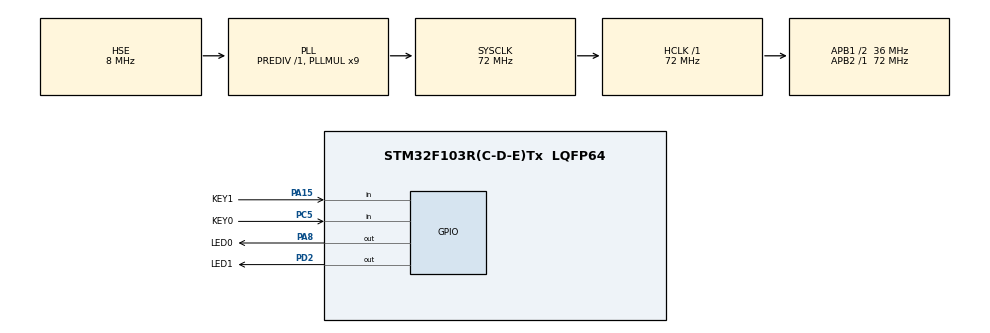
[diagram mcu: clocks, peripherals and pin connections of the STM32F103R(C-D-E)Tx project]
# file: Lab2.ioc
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Mcu.Family=STM32F1
Mcu.Name=STM32F103R(C-D-E)Tx
Mcu.Package=LQFP64
NVIC.PriorityGroup=NVIC_PRIORITYGROUP_4
PA13.Mode=Serial_Wire
PA13.Signal=SYS_JTMS-SWDIO
PA14.Mode=Serial_Wire
PA14.Signal=SYS_JTCK-SWCLK
PA15.GPIO_Label=KEY1
PA15.GPIO_PuPd=GPIO_PULLUP
PA15.Signal=GPIO_Input
PA8.GPIO_Label=LED0
PA8.PinState=GPIO_PIN_SET
PA8.Signal=GPIO_Output
PC5.GPIO_Label=KEY0
PC5.GPIO_PuPd=GPIO_PULLUP
PC5.Signal=GPIO_Input
PD0-OSC_IN.Mode=HSE-External-Oscillator
PD0-OSC_IN.Signal=RCC_OSC_IN
PD1-OSC_OUT.Mode=HSE-External-Oscillator
PD1-OSC_OUT.Signal=RCC_OSC_OUT
PD2.GPIO_Label=LED1
PD2.PinState=GPIO_PIN_SET
PD2.Signal=GPIO_Output
ProjectManager.HeapSize=0x200
ProjectManager.StackSize=0x400
ProjectManager.TargetToolchain=STM32CubeIDE
RCC.AHBFreq_Value=72000000
RCC.APB1CLKDivider=RCC_HCLK_DIV2
RCC.APB1Freq_Value=36000000
RCC.APB1TimFreq_Value=72000000
RCC.APB2Freq_Value=72000000
RCC.APB2TimFreq_Value=72000000
RCC.HCLKFreq_Value=72000000
RCC.PLLMUL=RCC_PLL_MUL9
RCC.PLLSourceVirtual=RCC_PLLSOURCE_HSE
RCC.SYSCLKFreq_VALUE=72000000
RCC.SYSCLKSource=RCC_SYSCLKSOURCE_PLLCLK
RCC.USBFreq_Value=72000000
board=custom

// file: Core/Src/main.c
/* USER CODE BEGIN Header */
/**
  ******************************************************************************
  * @file           : main.c
  * @brief          : Main program body
  ******************************************************************************
  * @attention
  *
  * Copyright (c) 2022 STMicroelectronics.
  * All rights reserved.
  *
  * This software is licensed under terms that can be found in the LICENSE file
  * in the root directory of this software component.
  * If no LICENSE file comes with this software, it is provided AS-IS.
  *
  ******************************************************************************
  */
/* USER CODE END Header */
#include "main.h"
#include "gpio.h"

void SystemClock_Config(void);

int main(void)
{

  /* MCU Configuration--------------------------------------------------------*/

  /* Reset of all peripherals, Initializes the Flash interface and the Systick. */
  HAL_Init();

  /* Configure the system clock */
  SystemClock_Config();

  /* Initialize all configured peripherals */
  MX_GPIO_Init();

  /* Infinite loop */
  while(1){

        /* USER CODE BEGIN 3 */

    if(HAL_GPIO_ReadPin(KEY1_GPIO_Port,KEY1_Pin)==GPIO_PIN_RESET){
       HAL_Delay(100);
       HAL_GPIO_TogglePin(LED1_GPIO_Port,LED1_Pin);} else
       HAL_GPIO_WritePin(LED1_GPIO_Port,LED1_Pin,HAL_GPIO_ReadPin(LED1_GPIO_Port,LED1_Pin));
    if(HAL_GPIO_ReadPin(KEY0_GPIO_Port,KEY0_Pin)==GPIO_PIN_RESET){
        HAL_Delay(100);
        HAL_GPIO_TogglePin(LED0_GPIO_Port,LED0_Pin);} else
        HAL_GPIO_WritePin(LED0_GPIO_Port,LED0_Pin,HAL_GPIO_ReadPin(LED0_GPIO_Port,LED0_Pin));
      //else
      //HAL GPIO WritePin(LED1 GPIO Port,LED1 PinHAL GPIO ReadPin(LED1 GPIO Port,LED1 Pin));
      /* USER CODE END 3 */
    }
  while(1)
      /* USER CODE END WHILE */

      /* USER CODE BEGIN 3 */
    if(HAL_GPIO_ReadPin(KEY0_GPIO_Port,KEY0_Pin)==GPIO_PIN_RESET){
    HAL_Delay(100);
    HAL_GPIO_TogglePin(LED0_GPIO_Port,LED0_Pin);} else
    HAL_GPIO_WritePin(LED0_GPIO_Port,LED0_Pin,HAL_GPIO_ReadPin(LED0_GPIO_Port,LED0_Pin));
  if(HAL_GPIO_ReadPin(KEY1_GPIO_Port,KEY1_Pin)==GPIO_PIN_RESET){
     HAL_Delay(100);
     HAL_GPIO_TogglePin(LED1_GPIO_Port,LED1_Pin);} else
     HAL_GPIO_WritePin(LED1_GPIO_Port,LED1_Pin,HAL_GPIO_ReadPin(LED1_GPIO_Port,LED1_Pin));
    //else
    //HAL GPIO WritePin(LED1 GPIO Port,LED1 PinHAL GPIO ReadPin(LED1 GPIO Port,LED1 Pin));
    /* USER CODE END 3 */
  }

void SystemClock_Config(void)
{
  RCC_OscInitTypeDef RCC_OscInitStruct = {0};
  RCC_ClkInitTypeDef RCC_ClkInitStruct = {0};

  /** Initializes the RCC Oscillators according to the specified parameters
  * in the RCC_OscInitTypeDef structure.
  */
  RCC_OscInitStruct.OscillatorType = RCC_OSCILLATORTYPE_HSE;
  RCC_OscInitStruct.HSEState = RCC_HSE_ON;
  RCC_OscInitStruct.HSEPredivValue = RCC_HSE_PREDIV_DIV1;
  RCC_OscInitStruct.HSIState = RCC_HSI_ON;
  RCC_OscInitStruct.PLL.PLLState = RCC_PLL_ON;
  RCC_OscInitStruct.PLL.PLLSource = RCC_PLLSOURCE_HSE;
  RCC_OscInitStruct.PLL.PLLMUL = RCC_PLL_MUL9;
  if (HAL_RCC_OscConfig(&RCC_OscInitStruct) != HAL_OK)
  {
    Error_Handler();
  }

  /** Initializes the CPU, AHB and APB buses clocks
  */
  RCC_ClkInitStruct.ClockType = RCC_CLOCKTYPE_HCLK|RCC_CLOCKTYPE_SYSCLK
                              |RCC_CLOCKTYPE_PCLK1|RCC_CLOCKTYPE_PCLK2;
  RCC_ClkInitStruct.SYSCLKSource = RCC_SYSCLKSOURCE_PLLCLK;
  RCC_ClkInitStruct.AHBCLKDivider = RCC_SYSCLK_DIV1;
  RCC_ClkInitStruct.APB1CLKDivider = RCC_HCLK_DIV2;
  RCC_ClkInitStruct.APB2CLKDivider = RCC_HCLK_DIV1;

  if (HAL_RCC_ClockConfig(&RCC_ClkInitStruct, FLASH_LATENCY_2) != HAL_OK)
  {
    Error_Handler();
  }
}

void Error_Handler(void)
{
  __disable_irq();
  while (1)
  {
  }
}
